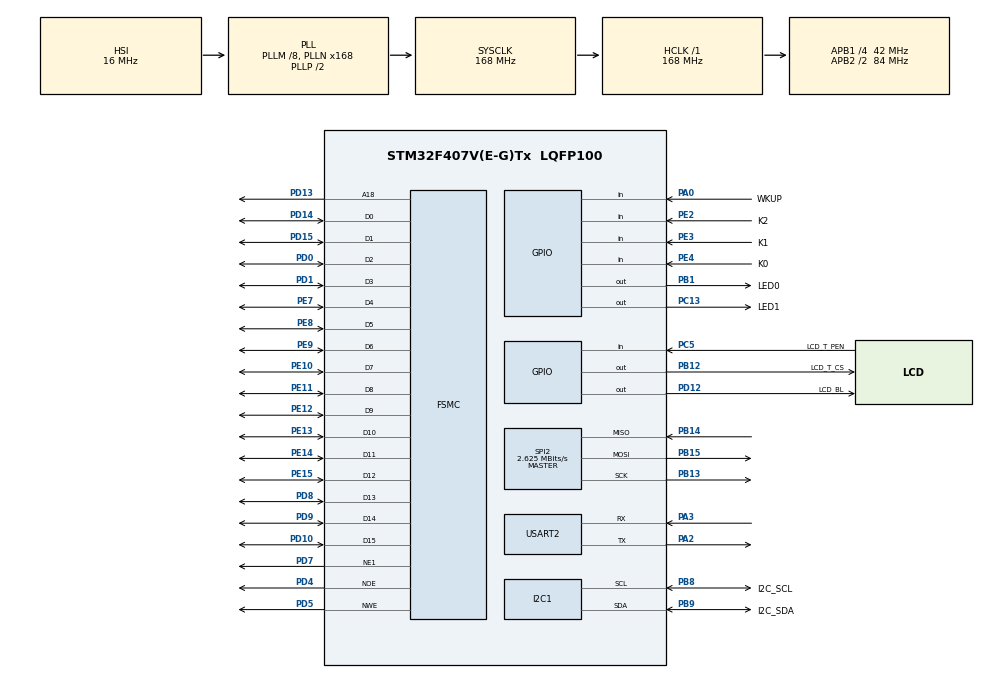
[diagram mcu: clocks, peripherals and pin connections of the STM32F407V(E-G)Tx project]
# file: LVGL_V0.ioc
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FSMC.AddressSetupTime1=15
FSMC.BusTurnAroundDuration1=0
FSMC.DataSetupTime1=60
FSMC.ExtendedAddressSetupTime1=9
FSMC.ExtendedBusTurnAroundDuration1=0
FSMC.ExtendedDataSetupTime1=8
FSMC.ExtendedMode1=FSMC_EXTENDED_MODE_ENABLE
Mcu.Family=STM32F4
Mcu.Name=STM32F407V(E-G)Tx
Mcu.Package=LQFP100
NVIC.PriorityGroup=NVIC_PRIORITYGROUP_4
NVIC.TIM6_DAC_IRQn=true\:0\:0\:false\:false\:true\:true\:true
NVIC.USART2_IRQn=true\:1\:0\:true\:false\:true\:true\:true
PA0-WKUP.GPIO_Label=WKUP
PA0-WKUP.GPIO_PuPd=GPIO_PULLDOWN
PA0-WKUP.Signal=GPIO_Input
PA13.Mode=Serial_Wire
PA13.Signal=SYS_JTMS-SWDIO
PA14.Mode=Serial_Wire
PA14.Signal=SYS_JTCK-SWCLK
PA2.Mode=Asynchronous
PA2.Signal=USART2_TX
PA3.Mode=Asynchronous
PA3.Signal=USART2_RX
PB1.GPIO_Label=LED0
PB1.GPIO_PuPd=GPIO_PULLUP
PB1.GPIO_Speed=GPIO_SPEED_FREQ_HIGH
PB1.Signal=GPIO_Output
PB12.GPIO_Label=LCD_T_CS
PB12.GPIO_PuPd=GPIO_PULLUP
PB12.GPIO_Speed=GPIO_SPEED_FREQ_HIGH
PB12.PinState=GPIO_PIN_SET
PB12.Signal=GPIO_Output
PB13.GPIO_PuPd=GPIO_PULLUP
PB13.Mode=Full_Duplex_Master
PB13.Signal=SPI2_SCK
PB14.GPIO_PuPd=GPIO_PULLUP
PB14.Mode=Full_Duplex_Master
PB14.Signal=SPI2_MISO
PB15.GPIO_PuPd=GPIO_PULLUP
PB15.Mode=Full_Duplex_Master
PB15.Signal=SPI2_MOSI
PB8.GPIO_Label=I2C_SCL
PB8.GPIO_Pu=GPIO_PULLUP
PB8.Mode=I2C
PB8.Signal=I2C1_SCL
PB9.GPIO_Label=I2C_SDA
PB9.GPIO_Pu=GPIO_PULLUP
PB9.Mode=I2C
PB9.Signal=I2C1_SDA
PC13-ANTI_TAMP.GPIO_Label=LED1
PC13-ANTI_TAMP.GPIO_PuPd=GPIO_PULLUP
PC13-ANTI_TAMP.Signal=GPIO_Output
PC5.GPIO_Label=LCD_T_PEN
PC5.GPIO_PuPd=GPIO_PULLUP
PC5.Signal=GPIO_Input
PD0.Mode=16b-d1
PD0.Signal=FSMC_D2
PD1.Mode=16b-d1
PD1.Signal=FSMC_D3
PD10.Mode=16b-d1
PD10.Signal=FSMC_D15
PD12.GPIO_Label=LCD_BL
PD12.Signal=GPIO_Output
PD13.Mode=A18_1
PD13.Signal=FSMC_A18
PD14.Mode=16b-d1
PD14.Signal=FSMC_D0
PD15.Mode=16b-d1
PD15.Signal=FSMC_D1
PD4.Mode=Lcd1
PD4.Signal=FSMC_NOE
PD5.Mode=Lcd1
PD5.Signal=FSMC_NWE
PD7.Mode=NorPsramChipSelect1_1
PD7.Signal=FSMC_NE1
PD8.Mode=16b-d1
PD8.Signal=FSMC_D13
PD9.Mode=16b-d1
PD9.Signal=FSMC_D14
PE10.Mode=16b-d1
PE10.Signal=FSMC_D7
PE11.Mode=16b-d1
PE11.Signal=FSMC_D8
PE12.Mode=16b-d1
PE12.Signal=FSMC_D9
PE13.Mode=16b-d1
PE13.Signal=FSMC_D10
PE14.Mode=16b-d1
PE14.Signal=FSMC_D11
PE15.Mode=16b-d1
PE15.Signal=FSMC_D12
PE2.GPIO_Label=K2
PE2.GPIO_PuPd=GPIO_PULLUP
PE2.Signal=GPIO_Input
PE3.GPIO_Label=K1
PE3.GPIO_PuPd=GPIO_PULLUP
PE3.Signal=GPIO_Input
PE4.GPIO_Label=K0
PE4.GPIO_PuPd=GPIO_PULLUP
PE4.Signal=GPIO_Input
PE7.Mode=16b-d1
PE7.Signal=FSMC_D4
PE8.Mode=16b-d1
PE8.Signal=FSMC_D5
PE9.Mode=16b-d1
PE9.Signal=FSMC_D6
PH0-OSC_IN.Mode=HSE-External-Oscillator
PH0-OSC_IN.Signal=RCC_OSC_IN
PH1-OSC_OUT.Mode=HSE-External-Oscillator
PH1-OSC_OUT.Signal=RCC_OSC_OUT
ProjectManager.HeapSize=0x1000
ProjectManager.StackSize=0x1000
ProjectManager.TargetToolchain=MDK-ARM V5
RCC.48MHZClocksFreq_Value=84000000
RCC.AHBFreq_Value=168000000
RCC.APB1CLKDivider=RCC_HCLK_DIV4
RCC.APB1Freq_Value=42000000
RCC.APB1TimFreq_Value=84000000
RCC.APB2CLKDivider=RCC_HCLK_DIV2
RCC.APB2Freq_Value=84000000
RCC.APB2TimFreq_Value=168000000
RCC.CortexFreq_Value=168000000
RCC.HCLKFreq_Value=168000000
RCC.HSE_VALUE=25000000
RCC.HSI_VALUE=16000000
RCC.LSE_VALUE=32768
RCC.PLLM=8
RCC.PLLN=168
RCC.SYSCLKFreq_VALUE=168000000
RCC.SYSCLKSource=RCC_SYSCLKSOURCE_PLLCLK
RCC.VCOOutputFreq_Value=336000000
SPI2.BaudRatePrescaler=SPI_BAUDRATEPRESCALER_16
SPI2.CalculateBaudRate=2.625 MBits/s
SPI2.Direction=SPI_DIRECTION_2LINES
SPI2.Mode=SPI_MODE_MASTER
SPI2.VirtualType=VM_MASTER
TIM6.AutoReloadPreload=TIM_AUTORELOAD_PRELOAD_ENABLE
TIM6.Period=1000-1
TIM6.Prescaler=84
USART2.VirtualMode=VM_ASYNC
VP_TIM6_VS_ClockSourceINT.Mode=Enable_Timer
board=custom

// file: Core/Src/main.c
/* USER CODE BEGIN Header */
/**
  ******************************************************************************
  * @file           : main.c
  * @brief          : Main program body
  ******************************************************************************
  * @attention
  *
  * Copyright (c) 2025 STMicroelectronics.
  * All rights reserved.
  *
  * This software is licensed under terms that can be found in the LICENSE file
  * in the root directory of this software component.
  * If no LICENSE file comes with this software, it is provided AS-IS.
  *
  ******************************************************************************
  */
/* USER CODE END Header */
#include "main.h"
#include "i2c.h"
#include "spi.h"
#include "tim.h"
#include "usart.h"
#include "gpio.h"
#include "fsmc.h"

/* USER CODE BEGIN Includes */
#include "stdio.h"
#include "lcd.h"
#include "touch.h"

#include "lvgl.h"                // 它为整个LVGL提供了更完整的头文件引用
#include "lv_port_disp.h"        // LVGL的显示支持
#include "lv_port_indev.h"       // LVGL的触屏支持

#include "gui_guider.h"          // Gui Guider 生成的界面和控件的声明
#include "events_init.h"         // Gui Guider 生成的初始化事件、回调函数
lv_ui  guider_ui;                // 声明 界面对象

/* USER CODE END Includes */

void SystemClock_Config(void);

/* USER CODE BEGIN 0 */
#define RXBUFFERSIZE  256
char RxBuffer[RXBUFFERSIZE];

/*
for循环实现延时us
*/
void for_delay_us(uint32_t nus)
{
    uint32_t Delay = nus * 168/4;
    do
    {
        __NOP();
    }
    while (Delay --);
}

/* USER CODE END 0 */

int main(void)
{

  /* MCU Configuration--------------------------------------------------------*/

  /* Reset of all peripherals, Initializes the Flash interface and the Systick. */
  HAL_Init();

  /* Configure the system clock */
  SystemClock_Config();

  /* Initialize all configured peripherals */
  MX_GPIO_Init();
  MX_USART2_UART_Init();
  MX_FSMC_Init();
  MX_SPI2_Init();
  MX_I2C1_Init();
  MX_TIM6_Init();
  /* USER CODE BEGIN 2 */
	// LCD 触摸屏初始化
	lcd_init();
	g_point_color = RED;
  tp_dev.init();

	// LVGL初始化
	lv_init();                             // LVGL 初始化
	lv_port_disp_init();                   // 注册LVGL的显示任务
	lv_port_indev_init();                  // 注册LVGL的触屏检测任务

	// 开启LVGL时钟
	HAL_TIM_Base_Start_IT(&htim6);

	setup_ui(&guider_ui);
	events_init(&guider_ui);
  /* USER CODE END 2 */

  /* Infinite loop */
  while (1)
  {

    /* USER CODE BEGIN 3 */

		// 1ms延时
		HAL_Delay(1-1);

		// 每5ms 检测一次LVGL任务
		static uint8_t msLVGL = 0;
		if (msLVGL++ >= 5)
		{
			lv_timer_handler();
			msLVGL = 0;
		}
		static uint16_t ts = 0;
		if (ts++ >= 1000)
		{
			static uint8_t s = 0;
			char label_time[32];  // 确保足够存储字符串
			snprintf(label_time, sizeof(label_time), "20:%02d   July", s);  // 安全版 sprintf
			lv_label_set_text(guider_ui.screen_label_2, label_time);
			s++;
			s = s >= 60 ? 0 : s;
			ts = 0;
		}
  }
  /* USER CODE END 3 */
}

void SystemClock_Config(void)
{
  RCC_OscInitTypeDef RCC_OscInitStruct = {0};
  RCC_ClkInitTypeDef RCC_ClkInitStruct = {0};

  /** Configure the main internal regulator output voltage
  */
  __HAL_RCC_PWR_CLK_ENABLE();
  __HAL_PWR_VOLTAGESCALING_CONFIG(PWR_REGULATOR_VOLTAGE_SCALE1);
  /** Initializes the RCC Oscillators according to the specified parameters
  * in the RCC_OscInitTypeDef structure.
  */
  RCC_OscInitStruct.OscillatorType = RCC_OSCILLATORTYPE_HSI;
  RCC_OscInitStruct.HSIState = RCC_HSI_ON;
  RCC_OscInitStruct.HSICalibrationValue = RCC_HSICALIBRATION_DEFAULT;
  RCC_OscInitStruct.PLL.PLLState = RCC_PLL_ON;
  RCC_OscInitStruct.PLL.PLLSource = RCC_PLLSOURCE_HSI;
  RCC_OscInitStruct.PLL.PLLM = 8;
  RCC_OscInitStruct.PLL.PLLN = 168;
  RCC_OscInitStruct.PLL.PLLP = RCC_PLLP_DIV2;
  RCC_OscInitStruct.PLL.PLLQ = 4;
  if (HAL_RCC_OscConfig(&RCC_OscInitStruct) != HAL_OK)
  {
    Error_Handler();
  }
  /** Initializes the CPU, AHB and APB buses clocks
  */
  RCC_ClkInitStruct.ClockType = RCC_CLOCKTYPE_HCLK|RCC_CLOCKTYPE_SYSCLK
                              |RCC_CLOCKTYPE_PCLK1|RCC_CLOCKTYPE_PCLK2;
  RCC_ClkInitStruct.SYSCLKSource = RCC_SYSCLKSOURCE_PLLCLK;
  RCC_ClkInitStruct.AHBCLKDivider = RCC_SYSCLK_DIV1;
  RCC_ClkInitStruct.APB1CLKDivider = RCC_HCLK_DIV4;
  RCC_ClkInitStruct.APB2CLKDivider = RCC_HCLK_DIV2;

  if (HAL_RCC_ClockConfig(&RCC_ClkInitStruct, FLASH_LATENCY_5) != HAL_OK)
  {
    Error_Handler();
  }
}

/* USER CODE BEGIN 4 */
/************************************************************************************
 * @brief       HAL_TIM_PeriodElapsedCallback
 * @note        TIM6回调函数
 *							为LVGL提供1ms的心跳周期，若定时器设置为2ms溢出中断，则lv_tick_inc(2);
 * @param       TIM_HandleTypeDef *htim
 * @retval      无
*************************************************************************************/
void HAL_TIM_PeriodElapsedCallback(TIM_HandleTypeDef *htim)
{
	if (htim->Instance == TIM6) // 判断中断来自TIM6
	{
		lv_tick_inc(1); // 给LVGL提供1ms心跳的心跳周期
	}
}

/* USER CODE END 4 */

void Error_Handler(void)
{
  __disable_irq();
  while (1)
  {
  }
}
